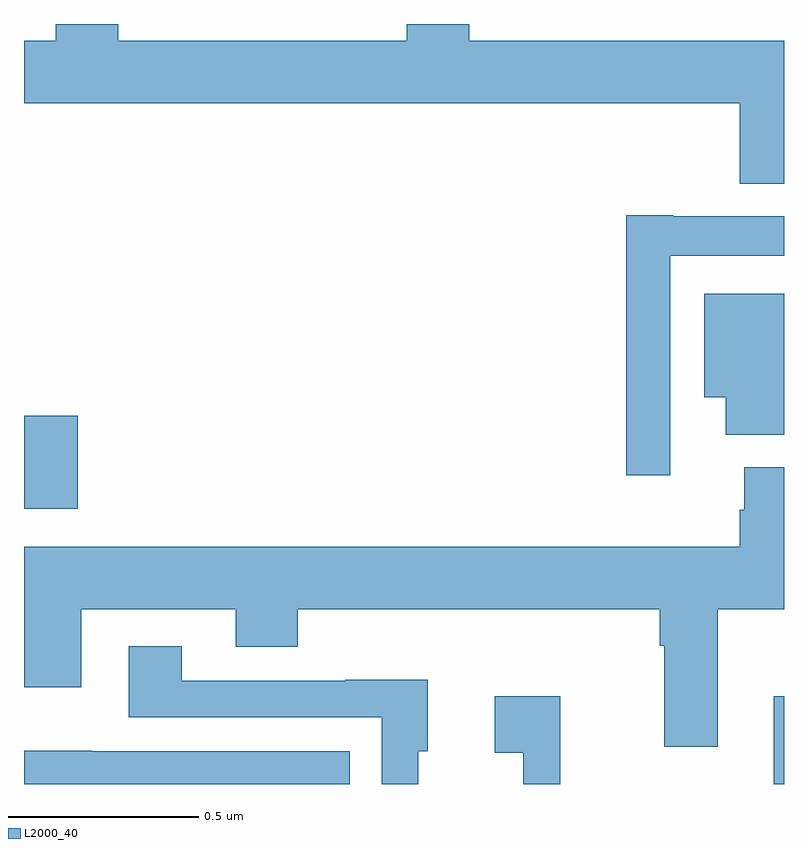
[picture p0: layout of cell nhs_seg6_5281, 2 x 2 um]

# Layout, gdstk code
import gdstk
lib = gdstk.Library(unit=1e-6, precision=1e-09)
def R(c, l, rs):  # rectangles x0, y0, x1, y1
    for r in rs: c.add(gdstk.rectangle(r[:2], r[2:], *l))
def P(c, l, *ps):  # polygons
    for p in ps: c.add(gdstk.Polygon(p, *l))
L2000_40 = (2000, 40)

nhs_seg6_5281 = lib.new_cell('nhs_seg6_5281')
R(nhs_seg6_5281, L2000_40, [(181.973,989.5,182,989.731), (180,990.224,180.142,990.469)])
P(nhs_seg6_5281, L2000_40, [(182,991.456),(181.172,991.456),(181.172,991.5),(181.007,991.5),(181.007,991.456),(180.248,991.456),(180.248,991.5),(180.083,991.5),(180.083,991.456),(180,991.456),(180,991.292),(181.883,991.292),(181.883,991.079),(182,991.079)],
  [(181.701,990.89),(182,990.89),(182,990.994),(181.708,990.994),(181.708,990.997),(181.585,990.997),(181.585,990.312),(181.701,990.312)],
  [(182,990.79),(181.79,990.79),(181.79,990.518),(181.847,990.518),(181.847,990.419),(182,990.419)],
  [(181.825,989.96),(182,989.96),(182,990.334),(181.895,990.334),(181.895,990.222),(181.883,990.222),(181.883,990.124),(180,990.124),(180,989.754),(180.151,989.754),(180.151,989.96),(180.557,989.96),(180.557,989.861),(180.721,989.861),(180.721,989.96),(181.673,989.96),(181.673,989.864),(181.685,989.864),(181.685,989.598),(181.825,989.598)],
  [(181.038,989.586),(181.063,989.586),(181.063,989.774),(180.845,989.774),(180.845,989.772),(180.415,989.772),(180.415,989.863),(180.275,989.863),(180.275,989.676),(180.942,989.676),(180.942,989.5),(181.038,989.5)],
  [(181.411,989.731),(181.239,989.731),(181.239,989.582),(181.314,989.582),(181.314,989.5),(181.411,989.5)],
  [(180.857,989.586),(180.179,989.586),(180.179,989.587),(180,989.587),(180,989.5),(180.857,989.5)])

lib.write_gds('nhs_seg6_5281.gds')
